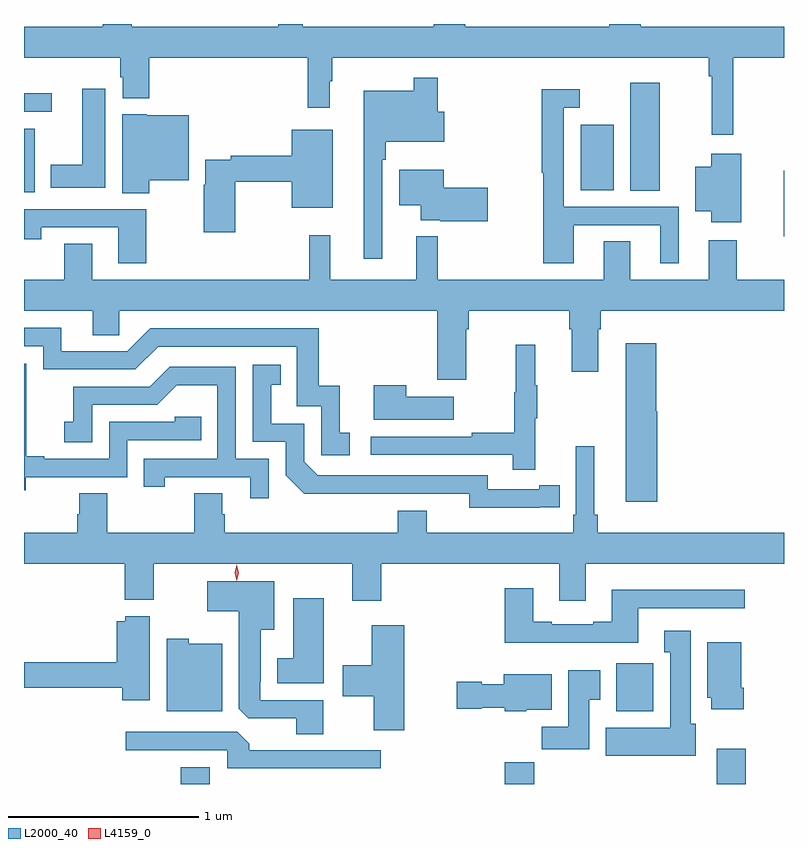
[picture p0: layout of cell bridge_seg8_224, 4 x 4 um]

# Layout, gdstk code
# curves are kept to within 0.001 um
import gdstk
lib = gdstk.Library(unit=1e-6, precision=1e-09)
def R(c, l, rs):  # rectangles x0, y0, x1, y1
    for r in rs: c.add(gdstk.rectangle(r[:2], r[2:], *l))
def P(c, l, *ps):  # polygons
    for p in ps: c.add(gdstk.Polygon(p, *l))
L2000_40 = (2000, 40)
L4159_0 = (4159, 0)

bridge_seg8_224 = lib.new_cell('bridge_seg8_224')
R(bridge_seg8_224, L2000_40, [(131.027,1123.334,131.179,1123.423), (132.731,1123.334,132.887,1123.448), (133.847,1123.334,134,1123.519), (133.319,1123.718,133.515,1123.969), (134.201,1126.217,134.202,1126.561), (130.202,1126.448,130.258,1126.783), (133.394,1126.456,133.549,1127.026), (133.133,1126.46,133.306,1126.804), (130.202,1126.872,130.348,1126.97)])
P(bridge_seg8_224, L2000_40, [(133.448,1127.334),(133.283,1127.334),(133.283,1127.32),(132.524,1127.32),(132.524,1127.334),(132.359,1127.334),(132.359,1127.32),(131.669,1127.32),(131.669,1127.334),(131.54,1127.334),(131.54,1127.32),(130.768,1127.32),(130.768,1127.334),(130.616,1127.334),(130.616,1127.32),(130.202,1127.32),(130.202,1127.156),(130.709,1127.156),(130.709,1127.055),(130.721,1127.055),(130.721,1126.943),(130.862,1126.943),(130.862,1127.156),(131.695,1127.156),(131.695,1126.893),(131.812,1126.893),(131.812,1127.033),(131.824,1127.033),(131.824,1127.156),(133.807,1127.156),(133.807,1127.06),(133.822,1127.06),(133.822,1126.752),(133.936,1126.752),(133.936,1127.156),(134.202,1127.156),(134.202,1127.32),(133.448,1127.32)],
  [(132.087,1126.619),(132.107,1126.619),(132.107,1126.715),(132.415,1126.715),(132.415,1126.873),(132.38,1126.873),(132.38,1127.05),(132.252,1127.05),(132.252,1126.984),(131.99,1126.984),(131.99,1126.098),(132.087,1126.098)],
  [(130.63,1126.993),(130.508,1126.993),(130.508,1126.594),(130.343,1126.594),(130.343,1126.472),(130.63,1126.472)],
  [(133.096,1126.275),(133.55,1126.275),(133.55,1126.074),(133.648,1126.074),(133.648,1126.371),(133.044,1126.371),(133.044,1126.893),(133.126,1126.893),(133.126,1126.99),(132.928,1126.99),(132.928,1126.55),(132.935,1126.55),(132.935,1126.074),(133.096,1126.074)],
  [(130.86,1126.511),(131.068,1126.511),(131.068,1126.855),(130.848,1126.855),(130.848,1126.858),(130.718,1126.858),(130.718,1126.444),(130.86,1126.444)],
  [(131.314,1126.504),(131.612,1126.504),(131.612,1126.367),(131.827,1126.367),(131.827,1126.777),(131.612,1126.777),(131.612,1126.64),(131.29,1126.64),(131.29,1126.62),(131.156,1126.62),(131.156,1126.487),(131.149,1126.487),(131.149,1126.239),(131.314,1126.239)],
  [(133.978,1126.651),(133.82,1126.651),(133.82,1126.582),(133.736,1126.582),(133.736,1126.349),(133.82,1126.349),(133.82,1126.29),(133.978,1126.29)],
  [(132.643,1126.472),(132.412,1126.472),(132.412,1126.567),(132.176,1126.567),(132.176,1126.379),(132.29,1126.379),(132.29,1126.301),(132.394,1126.301),(132.394,1126.296),(132.643,1126.296)],
  [(130.845,1126.359),(130.202,1126.359),(130.202,1126.2),(130.293,1126.2),(130.293,1126.263),(130.697,1126.263),(130.697,1126.074),(130.845,1126.074)],
  [(132.529,1125.728),(132.542,1125.728),(132.542,1125.824),(133.073,1125.824),(133.073,1125.728),(133.085,1125.728),(133.085,1125.504),(133.225,1125.504),(133.225,1125.728),(133.238,1125.728),(133.238,1125.824),(134.202,1125.824),(134.202,1125.988),(133.953,1125.988),(133.953,1126.195),(133.805,1126.195),(133.805,1125.988),(133.393,1125.988),(133.393,1126.19),(133.253,1126.19),(133.253,1125.988),(132.379,1125.988),(132.379,1126.216),(132.266,1126.216),(132.266,1125.988),(131.813,1125.988),(131.813,1126.222),(131.703,1126.222),(131.703,1125.988),(130.561,1125.988),(130.561,1126.178),(130.414,1126.178),(130.414,1125.988),(130.202,1125.988),(130.202,1125.824),(130.565,1125.824),(130.565,1125.697),(130.704,1125.697),(130.704,1125.824),(132.377,1125.824),(132.377,1125.462),(132.529,1125.462)],
  [(131.917,1125.183),(131.864,1125.183),(131.864,1125.43),(131.753,1125.43),(131.753,1125.732),(130.866,1125.732),(130.746,1125.612),(130.399,1125.612),(130.399,1125.735),(130.202,1125.735),(130.202,1125.639),(130.302,1125.639),(130.302,1125.516),(130.788,1125.516),(130.908,1125.636),(131.637,1125.636),(131.637,1125.321),(131.766,1125.321),(131.766,1125.063),(131.917,1125.063)],
  [(133.534,1125.297),(133.529,1125.297),(133.529,1125.655),(133.37,1125.655),(133.37,1124.82),(133.534,1124.82)],
  [(132.893,1125.259),(132.904,1125.259),(132.904,1125.433),(132.893,1125.433),(132.893,1125.646),(132.79,1125.646),(132.79,1125.396),(132.783,1125.396),(132.783,1125.182),(132.559,1125.182),(132.559,1125.162),(132.027,1125.162),(132.027,1125.066),(132.775,1125.066),(132.775,1124.988),(132.893,1124.988)],
  [(130.212,1124.949),(130.746,1124.949),(130.746,1125.144),(131.135,1125.144),(131.135,1125.267),(130.995,1125.267),(130.995,1125.24),(130.65,1125.24),(130.65,1125.045),(130.309,1125.045),(130.309,1125.058),(130.214,1125.058),(130.214,1125.341),(130.215,1125.341),(130.215,1125.547),(130.202,1125.547),(130.202,1124.881),(130.212,1124.881)],
  [(132.914,1124.79),(133.022,1124.79),(133.022,1124.906),(132.914,1124.906),(132.914,1124.886),(132.642,1124.886),(132.642,1124.958),(131.748,1124.958),(131.676,1125.03),(131.676,1125.231),(131.503,1125.231),(131.503,1125.435),(131.552,1125.435),(131.552,1125.541),(131.406,1125.541),(131.406,1125.135),(131.58,1125.135),(131.58,1124.958),(131.678,1124.861),(132.546,1124.862),(132.546,1124.789)],
  [(131.49,1125.045),(131.316,1125.045),(131.316,1125.531),(130.97,1125.531),(130.865,1125.426),(130.462,1125.426),(130.462,1125.241),(130.413,1125.241),(130.413,1125.132),(130.56,1125.132),(130.56,1125.33),(130.902,1125.33),(131.006,1125.434),(131.22,1125.434),(131.22,1125.045),(130.831,1125.045),(130.831,1124.898),(130.942,1124.898),(130.942,1124.949),(131.393,1124.949),(131.393,1124.838),(131.49,1124.838)],
  [(132.463,1125.373),(132.215,1125.373),(132.215,1125.433),(132.044,1125.433),(132.044,1125.251),(132.463,1125.251)],
  [(131.098,1124.864),(131.098,1124.656),(130.641,1124.656),(130.641,1124.864),(130.493,1124.864),(130.493,1124.754),(130.481,1124.754),(130.481,1124.656),(130.202,1124.656),(130.202,1124.492),(130.733,1124.492),(130.733,1124.303),(130.885,1124.303),(130.885,1124.492),(131.93,1124.492),(131.93,1124.298),(132.083,1124.298),(132.083,1124.492),(133.019,1124.492),(133.019,1124.298),(133.159,1124.298),(133.159,1124.492),(134.202,1124.492),(134.202,1124.656),(133.223,1124.656),(133.223,1124.752),(133.204,1124.752),(133.204,1125.112),(133.107,1125.112),(133.107,1124.752),(133.094,1124.752),(133.094,1124.656),(132.322,1124.656),(132.322,1124.773),(132.17,1124.773),(132.17,1124.656),(131.258,1124.656),(131.258,1124.754),(131.245,1124.754),(131.245,1124.864)],
  [(131.776,1123.776),(131.445,1123.776),(131.445,1123.873),(131.449,1123.873),(131.449,1124.147),(131.518,1124.147),(131.518,1124.401),(131.166,1124.401),(131.166,1124.243),(131.333,1124.243),(131.333,1123.729),(131.382,1123.68),(131.636,1123.68),(131.636,1123.597),(131.776,1123.597)],
  [(133.435,1124.259),(133.996,1124.259),(133.996,1124.356),(133.295,1124.356),(133.295,1124.188),(133.199,1124.188),(133.199,1124.175),(132.979,1124.175),(132.979,1124.188),(132.883,1124.188),(132.883,1124.365),(132.731,1124.365),(132.731,1124.078),(133.435,1124.078)],
  [(131.779,1124.311),(131.618,1124.311),(131.618,1123.996),(131.534,1123.996),(131.534,1123.865),(131.779,1123.865)],
  [(130.864,1124.218),(130.734,1124.218),(130.734,1124.191),(130.691,1124.191),(130.691,1123.976),(130.202,1123.976),(130.202,1123.84),(130.718,1123.84),(130.718,1123.776),(130.864,1123.776)],
  [(132.202,1124.17),(132.032,1124.17),(132.032,1123.959),(131.88,1123.959),(131.88,1123.796),(132.044,1123.796),(132.044,1123.617),(132.202,1123.617)],
  [(133.738,1123.65),(133.711,1123.65),(133.711,1124.14),(133.571,1124.14),(133.571,1124.027),(133.604,1124.027),(133.604,1123.63),(133.265,1123.63),(133.265,1123.484),(133.738,1123.484)],
  [(131.245,1124.071),(131.07,1124.071),(131.07,1124.098),(130.952,1124.098),(130.952,1123.718),(131.245,1123.718)],
  [(133.991,1123.84),(133.978,1123.84),(133.978,1124.08),(133.799,1124.08),(133.799,1123.788),(133.82,1123.788),(133.82,1123.728),(133.991,1123.728)],
  [(133.177,1123.777),(133.234,1123.777),(133.234,1123.933),(133.067,1123.933),(133.067,1123.636),(132.928,1123.636),(132.928,1123.518),(133.177,1123.518)],
  [(132.846,1123.724),(132.979,1123.724),(132.979,1123.912),(132.728,1123.912),(132.728,1123.858),(132.612,1123.858),(132.612,1123.871),(132.48,1123.871),(132.48,1123.729),(132.612,1123.729),(132.612,1123.736),(132.732,1123.736),(132.732,1123.718),(132.846,1123.718)],
  [(132.079,1123.512),(131.387,1123.512),(131.387,1123.546),(131.325,1123.608),(130.737,1123.608),(130.737,1123.512),(131.271,1123.512),(131.271,1123.416),(132.079,1123.416)])
P(bridge_seg8_224, L4159_0, [(131.322,1124.405),(131.322,1124.406),(131.311,1124.447),(131.321,1124.488),(131.321,1124.488),(131.321,1124.488),(131.331,1124.447),(131.322,1124.406)])

lib.write_gds('bridge_seg8_224.gds')
